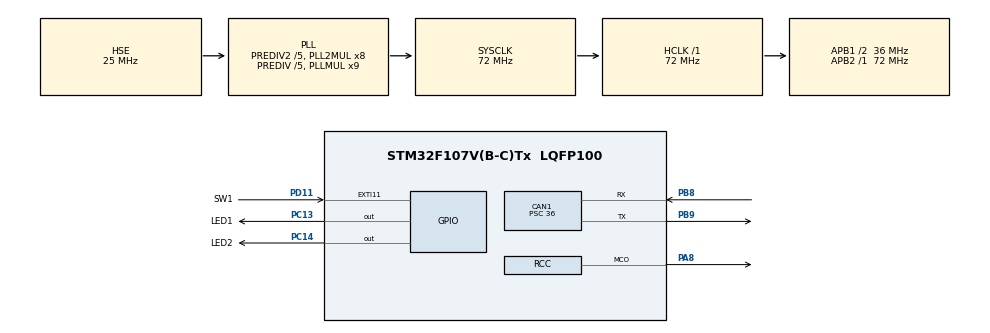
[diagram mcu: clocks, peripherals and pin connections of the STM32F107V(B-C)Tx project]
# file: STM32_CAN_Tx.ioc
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CAN1.BS1=CAN_BS1_6TQ
CAN1.CalculateBaudRate=125000
CAN1.CalculateTimeBit=8000
CAN1.CalculateTimeQuantum=1000.0
CAN1.Prescaler=36
Mcu.Family=STM32F1
Mcu.Name=STM32F107V(B-C)Tx
Mcu.Package=LQFP100
NVIC.CAN1_RX0_IRQn=true\:0\:0\:false\:false\:true\:true\:true\:true
NVIC.EXTI15_10_IRQn=true\:0\:0\:false\:false\:true\:true\:true\:true
NVIC.PriorityGroup=NVIC_PRIORITYGROUP_4
OSC_IN.Mode=HSE-External-Oscillator
OSC_IN.Signal=RCC_OSC_IN
OSC_OUT.Mode=HSE-External-Oscillator
OSC_OUT.Signal=RCC_OSC_OUT
PA13.Mode=JTAG_5_pins
PA13.Signal=SYS_JTMS-SWDIO
PA14.Mode=JTAG_5_pins
PA14.Signal=SYS_JTCK-SWCLK
PA15.Mode=JTAG_5_pins
PA15.Signal=SYS_JTDI
PA8.GPIO_Speed=GPIO_SPEED_FREQ_MEDIUM
PA8.Mode=Clock-out
PA8.Signal=RCC_MCO
PB3.Mode=JTAG_5_pins
PB3.Signal=SYS_JTDO
PB4.Mode=JTAG_5_pins
PB4.Signal=SYS_NJTRST
PB8.Mode=CAN_Activate
PB8.Signal=CAN1_RX
PB9.Mode=CAN_Activate
PB9.Signal=CAN1_TX
PC13-TAMPER-RTC.GPIO_Label=LED1
PC13-TAMPER-RTC.Signal=GPIO_Output
PC14-OSC32_IN.GPIO_Label=LED2
PC14-OSC32_IN.Signal=GPIO_Output
PD11.GPIO_Label=SW1
PD11.Signal=GPXTI11
ProjectManager.HeapSize=0x200
ProjectManager.StackSize=0x400
ProjectManager.TargetToolchain=STM32CubeIDE
RCC.AHBFreq_Value=72000000
RCC.APB1CLKDivider=RCC_HCLK_DIV2
RCC.APB1Freq_Value=36000000
RCC.APB1TimFreq_Value=72000000
RCC.APB2Freq_Value=72000000
RCC.APB2TimFreq_Value=72000000
RCC.HCLKFreq_Value=72000000
RCC.HSEDivPLL=RCC_HSE_PREDIV_DIV5
RCC.HSE_VALUE=25000000
RCC.PLL3Mul=RCC_PLLI2S_MUL10
RCC.PLLMUL=RCC_PLL_MUL9
RCC.PLLSourceVirtual=RCC_PLLSOURCE_HSE
RCC.Prediv1Source=RCC_PREDIV1_SOURCE_PLL2
RCC.Prediv2=RCC_HSE_PREDIV2_DIV5
RCC.RCC_MCOSource=RCC_MCO1SOURCE_PLL3CLK
RCC.SYSCLKFreq_VALUE=72000000
RCC.SYSCLKSource=RCC_SYSCLKSOURCE_PLLCLK
RCC.USBFreq_Value=48000000
board=custom

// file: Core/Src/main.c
/* USER CODE BEGIN Header */
/**
  ******************************************************************************
  * @file           : main.c
  * @brief          : Main program body
  ******************************************************************************
  * @attention
  *
  * Copyright (c) 2024 STMicroelectronics.
  * All rights reserved.
  *
  * This software is licensed under terms that can be found in the LICENSE file
  * in the root directory of this software component.
  * If no LICENSE file comes with this software, it is provided AS-IS.
  *
  ******************************************************************************
  */
/* USER CODE END Header */
#include "main.h"

CAN_HandleTypeDef hcan1;

void SystemClock_Config(void);
static void MX_GPIO_Init(void);
static void MX_CAN1_Init(void);

/* USER CODE BEGIN 0 */

CAN_TxHeaderTypeDef TxHeader;
CAN_RxHeaderTypeDef RxHeader;

uint8_t TxData[8];
uint8_t RxData[8];

uint32_t TxMailbox;

int datacheck = 0;

void HAL_GPIO_EXTI_Callback(uint16_t GPIO_Pin)
{
	if (GPIO_Pin == SW1_Pin)
	{
		TxData[0] = 255;   // ms Delay
		TxData[1] = 10;    // loop rep

		HAL_CAN_AddTxMessage(&hcan1, &TxHeader, TxData, &TxMailbox);
	}
}

void HAL_CAN_RxFifo0MsgPendingCallback(CAN_HandleTypeDef *hcan)
{
	HAL_CAN_GetRxMessage(hcan, CAN_RX_FIFO0, &RxHeader, RxData);
	if (RxHeader.DLC == 2)
	{
		datacheck = 1;
	}
}

/* USER CODE END 0 */

int main(void)
{

  /* MCU Configuration--------------------------------------------------------*/

  /* Reset of all peripherals, Initializes the Flash interface and the Systick. */
  HAL_Init();

  /* Configure the system clock */
  SystemClock_Config();

  /* USER CODE BEGIN SysInit */
  __HAL_RCC_AFIO_CLK_ENABLE();
  /* USER CODE END SysInit */

  /* Initialize all configured peripherals */
  MX_GPIO_Init();
  MX_CAN1_Init();
  /* USER CODE BEGIN 2 */

  HAL_CAN_Start(&hcan1);

  // Activate the notification
  HAL_CAN_ActivateNotification(&hcan1, CAN_IT_RX_FIFO0_MSG_PENDING);

  TxHeader.DLC = 2;  // data length
  TxHeader.IDE = CAN_ID_STD;
  TxHeader.RTR = CAN_RTR_DATA;
  TxHeader.StdId = 0x446;  // ID

  /* USER CODE END 2 */

  /* Infinite loop */
  /* USER CODE BEGIN WHILE */
  while (1)
  {

	  if (datacheck)
	  {
		  // blink the LED
		  for (int i=0; i<RxData[1]; i++)
		  {
			  HAL_GPIO_TogglePin(LED1_GPIO_Port, LED1_Pin);
			  HAL_Delay(RxData[0]);
		  }

		  datacheck = 0;

			TxData[0] = 255;   // ms Delay
			TxData[1] = 10;    // loop rep

			HAL_CAN_AddTxMessage(&hcan1, &TxHeader, TxData, &TxMailbox);
	  }

    /* USER CODE END WHILE */

  }
}

void SystemClock_Config(void)
{
  RCC_OscInitTypeDef RCC_OscInitStruct = {0};
  RCC_ClkInitTypeDef RCC_ClkInitStruct = {0};

  /** Initializes the RCC Oscillators according to the specified parameters
  * in the RCC_OscInitTypeDef structure.
  */
  RCC_OscInitStruct.OscillatorType = RCC_OSCILLATORTYPE_HSE;
  RCC_OscInitStruct.HSEState = RCC_HSE_ON;
  RCC_OscInitStruct.HSEPredivValue = RCC_HSE_PREDIV_DIV5;
  RCC_OscInitStruct.HSIState = RCC_HSI_ON;
  RCC_OscInitStruct.Prediv1Source = RCC_PREDIV1_SOURCE_PLL2;
  RCC_OscInitStruct.PLL.PLLState = RCC_PLL_ON;
  RCC_OscInitStruct.PLL.PLLSource = RCC_PLLSOURCE_HSE;
  RCC_OscInitStruct.PLL.PLLMUL = RCC_PLL_MUL9;
  RCC_OscInitStruct.PLL2.PLL2State = RCC_PLL2_ON;
  RCC_OscInitStruct.PLL2.PLL2MUL = RCC_PLL2_MUL8;
  RCC_OscInitStruct.PLL2.HSEPrediv2Value = RCC_HSE_PREDIV2_DIV5;
  if (HAL_RCC_OscConfig(&RCC_OscInitStruct) != HAL_OK)
  {
    Error_Handler();
  }

  /** Initializes the CPU, AHB and APB buses clocks
  */
  RCC_ClkInitStruct.ClockType = RCC_CLOCKTYPE_HCLK|RCC_CLOCKTYPE_SYSCLK
                              |RCC_CLOCKTYPE_PCLK1|RCC_CLOCKTYPE_PCLK2;
  RCC_ClkInitStruct.SYSCLKSource = RCC_SYSCLKSOURCE_PLLCLK;
  RCC_ClkInitStruct.AHBCLKDivider = RCC_SYSCLK_DIV1;
  RCC_ClkInitStruct.APB1CLKDivider = RCC_HCLK_DIV2;
  RCC_ClkInitStruct.APB2CLKDivider = RCC_HCLK_DIV1;

  if (HAL_RCC_ClockConfig(&RCC_ClkInitStruct, FLASH_LATENCY_2) != HAL_OK)
  {
    Error_Handler();
  }
  HAL_RCC_MCOConfig(RCC_MCO, RCC_MCO1SOURCE_PLL3CLK, RCC_MCODIV_1);

  /** Configure the Systick interrupt time
  */
  __HAL_RCC_HSE_PREDIV2_CONFIG(RCC_HSE_PREDIV2_DIV5);

  /** Configure the Systick interrupt time
  */
  __HAL_RCC_PLLI2S_CONFIG(RCC_PLLI2S_MUL10);

  /** Configure the Systick interrupt time
  */
  __HAL_RCC_PLLI2S_ENABLE();
}

static void MX_CAN1_Init(void)
{

  hcan1.Instance = CAN1;
  hcan1.Init.Prescaler = 36;
  hcan1.Init.Mode = CAN_MODE_NORMAL;
  hcan1.Init.SyncJumpWidth = CAN_SJW_1TQ;
  hcan1.Init.TimeSeg1 = CAN_BS1_6TQ;
  hcan1.Init.TimeSeg2 = CAN_BS2_1TQ;
  hcan1.Init.TimeTriggeredMode = DISABLE;
  hcan1.Init.AutoBusOff = DISABLE;
  hcan1.Init.AutoWakeUp = DISABLE;
  hcan1.Init.AutoRetransmission = DISABLE;
  hcan1.Init.ReceiveFifoLocked = DISABLE;
  hcan1.Init.TransmitFifoPriority = DISABLE;
  if (HAL_CAN_Init(&hcan1) != HAL_OK)
  {
    Error_Handler();
  }
  /* USER CODE BEGIN CAN1_Init 2 */
  CAN_FilterTypeDef canfilterconfig;

  canfilterconfig.FilterActivation = CAN_FILTER_ENABLE;
  canfilterconfig.FilterBank = 18;  // Ensure this bank is available
  canfilterconfig.FilterFIFOAssignment = CAN_FILTER_FIFO0;
  canfilterconfig.FilterIdHigh = 0x107 << 5; // Standard ID shifted
  canfilterconfig.FilterIdLow = 0;
  canfilterconfig.FilterMaskIdHigh = 0x107 << 5; // Mask must match expected ID
  canfilterconfig.FilterMaskIdLow = 0x0000;
  canfilterconfig.FilterMode = CAN_FILTERMODE_IDMASK;
  canfilterconfig.FilterScale = CAN_FILTERSCALE_32BIT;
  canfilterconfig.SlaveStartFilterBank = 20;  // Adjust as needed

  if (HAL_CAN_ConfigFilter(&hcan1, &canfilterconfig) != HAL_OK) {
      // Handle error
  }

  /* USER CODE END CAN1_Init 2 */

}

static void MX_GPIO_Init(void)
{
  GPIO_InitTypeDef GPIO_InitStruct = {0};

  /* GPIO Ports Clock Enable */
  __HAL_RCC_GPIOC_CLK_ENABLE();
  __HAL_RCC_GPIOD_CLK_ENABLE();
  __HAL_RCC_GPIOA_CLK_ENABLE();
  __HAL_RCC_GPIOB_CLK_ENABLE();

  /*Configure GPIO pin Output Level */
  HAL_GPIO_WritePin(GPIOC, LED1_Pin|LED2_Pin, GPIO_PIN_RESET);

  /*Configure GPIO pins : LED1_Pin LED2_Pin */
  GPIO_InitStruct.Pin = LED1_Pin|LED2_Pin;
  GPIO_InitStruct.Mode = GPIO_MODE_OUTPUT_PP;
  GPIO_InitStruct.Pull = GPIO_NOPULL;
  GPIO_InitStruct.Speed = GPIO_SPEED_FREQ_LOW;
  HAL_GPIO_Init(GPIOC, &GPIO_InitStruct);

  /*Configure GPIO pin : SW1_Pin */
  GPIO_InitStruct.Pin = SW1_Pin;
  GPIO_InitStruct.Mode = GPIO_MODE_IT_RISING;
  GPIO_InitStruct.Pull = GPIO_NOPULL;
  HAL_GPIO_Init(SW1_GPIO_Port, &GPIO_InitStruct);

  /*Configure GPIO pin : PA8 */
  GPIO_InitStruct.Pin = GPIO_PIN_8;
  GPIO_InitStruct.Mode = GPIO_MODE_AF_PP;
  GPIO_InitStruct.Speed = GPIO_SPEED_FREQ_MEDIUM;
  HAL_GPIO_Init(GPIOA, &GPIO_InitStruct);

  /* EXTI interrupt init*/
  HAL_NVIC_SetPriority(EXTI15_10_IRQn, 0, 0);
  HAL_NVIC_EnableIRQ(EXTI15_10_IRQn);

}

void Error_Handler(void)
{
  __disable_irq();
  while (1)
  {
  }
}
